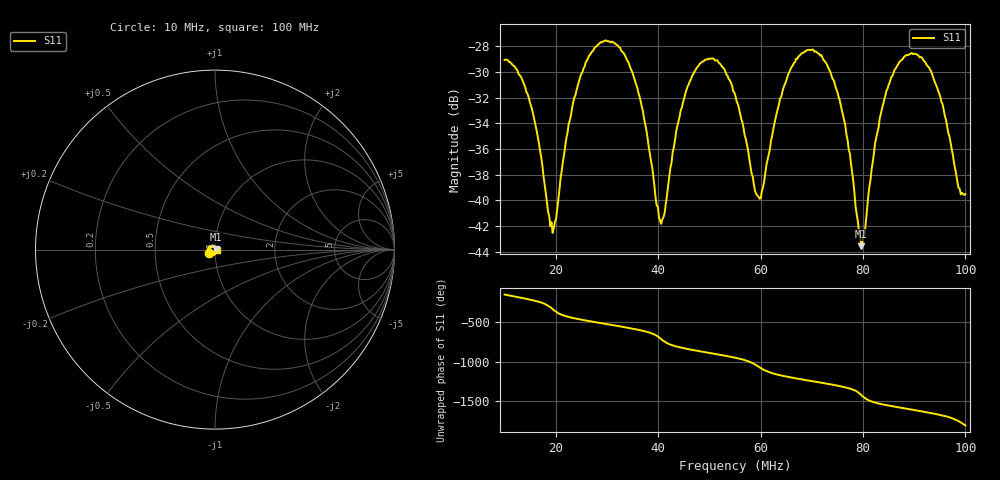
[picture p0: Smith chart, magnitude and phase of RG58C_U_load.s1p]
# HZ S RI R 50
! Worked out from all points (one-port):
!   404 points, 10 MHz to 100 MHz, reference 50 ohm
!   lowest |S11| = -43.6 dB at 79.68 MHz (marker M1), VSWR 1.01, Z = 50.6 + j0.238 ohm
!   |S11| at or under -10 dB: start of sweep to end of sweep
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1e7  -0.0307 -0.0173
1.491315e7  -0.0201 0.0135
1.915632e7  0.00637 0.00522
1.98263e7  0.00823 0.000476
2.138958e7  0.00875 -0.0112
2.362282e7  4.91e-05 -0.0252
2.630272e7  -0.0197 -0.03
3.255582e7  -0.0385 0.00858
3.635235e7  -0.0133 0.0217
4.059552e7  0.00807 0.0008
4.39454e7  -0.00118 -0.0202
4.66253e7  -0.0195 -0.0235
4.952852e7  -0.0339 -0.0106
5.511165e7  -0.0165 0.0194
5.980148e7  0.00999 0.00188
6.337468e7  0.0028 -0.0226
6.62779e7  -0.0176 -0.0285
6.962778e7  -0.0362 -0.0133
7.2531e7  -0.0341 0.007
7.543422e7  -0.017 0.0178
7.766748e7  -0.00193 0.0137
7.96774e7  0.00621 0.00235
8.41439e7  -0.005 -0.0241
8.883372e7  -0.0338 -0.0147
9.330022e7  -0.0283 0.0146
9.57568e7  -0.0109 0.0198
9.866002e7  0.00697 0.00878
9.999998e7  0.0106 -0.000694
